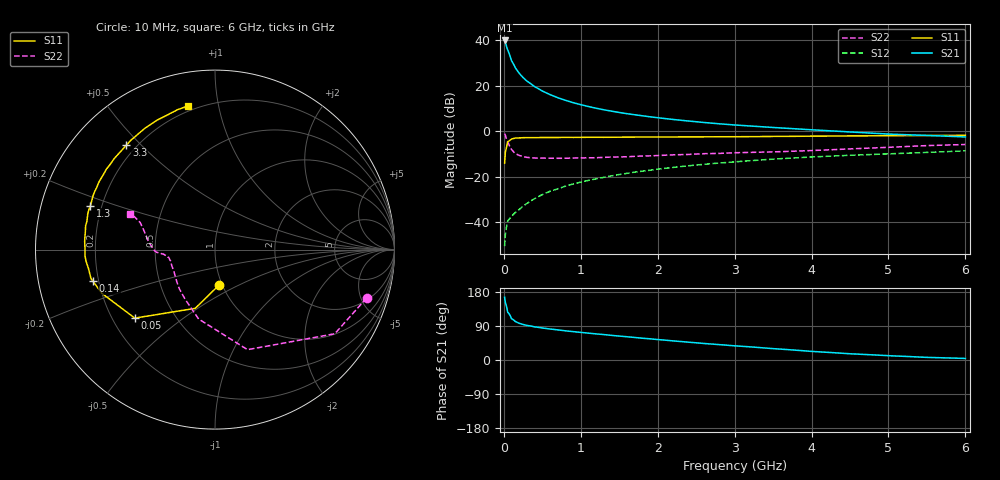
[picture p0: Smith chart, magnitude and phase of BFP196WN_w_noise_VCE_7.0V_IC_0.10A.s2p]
! Infineon Technologies  Discrete & RF Semiconductors
! BFP196WN
! VCE =  7.0 V,  IC = 0.10 A
! Common Emitter S-Parameters:  Jan 2017
# GHz  S  MA  R  50
!  f  S11  S21  S12  S22
! GHz  MAG  ANG  MAG  ANG  MAG  ANG  MAG  ANG
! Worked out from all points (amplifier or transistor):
!   77 points, 10 MHz to 6 GHz, reference 50 ohm
!   highest |S21| = 39.9 dB at 10 MHz (marker M1)
!   |S21| within 3 dB of that: start of sweep to 38.58 MHz
!   unconditionally stable (mu >= 1): 499.4 MHz to 2.46 GHz
!   at 130 MHz: K = 0.68, MSG = 32.8 dB, |S12| = -36.3 dB
!   at 2.2 GHz: K = 1.01, MAG = 9.8 dB, |S12| = -15.9 dB
!   at 6 GHz: K = 0.91, MSG = 3.1 dB, |S12| = -8.6 dB
!   lowest NFmin = 1.80 dB at 450 MHz
!   S11 on the Smith chart (normalised r, x): 10 MHz: 0.96, -0.40; 50 MHz: 0.29, -0.34; 140 MHz: 0.18, -0.12; 1.3 GHz: 0.16, +0.17; 3.3 GHz: 0.16, +0.45; 6 GHz: 0.17, +0.82
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0.01  0.1994 -83.7  98.31 165.6  0.003 77.5  0.8868 -17.7
0.02  0.3454 -108.6  88.27 151.6  0.0054 72.6  0.8156 -35.1
0.05  0.5876 -139.5  60.91 126.1  0.0106 52.3  0.5861 -72.0
0.1  0.6761 -158.9  35.42 109.0  0.0135 54.0  0.3977 -103.2
0.14  0.7018 -165.4  26.76 103.4  0.0159 56.5  0.3348 -116.9
0.15  0.7096 -166.9  24.65 101.4  0.0165 57.0  0.3228 -121.1
0.2  0.713 -171.6  18.69 96.9  0.0191 60.8  0.2944 -132.7
0.25  0.7212 -174.7  15.07 93.7  0.0228 63.6  0.2782 -139.9
0.3  0.7248 -177.2  12.6 91.3  0.026 64.0  0.2666 -146.0
0.4  0.7246 179.1  9.527 87.4  0.0331 69.2  0.2585 -153.1
0.5  0.7277 176.3  7.631 84.5  0.0406 70.2  0.2573 -158.3
0.6  0.7283 173.9  6.376 81.8  0.0481 71.2  0.2563 -161.9
0.7  0.7296 171.7  5.458 79.5  0.0544 72.2  0.2546 -164.3
0.9  0.7307 167.6  4.244 74.9  0.0694 71.5  0.2582 -167.3
1.1  0.7367 164.1  3.486 70.9  0.0834 71.0  0.2609 -170.1
1.3  0.7358 160.7  2.957 67.1  0.0975 70.1  0.2669 -171.0
2.1  0.7484 148.1  1.895 52.3  0.1539 64.7  0.298 -175.6
3.1  0.7589 133.3  1.338 36.1  0.2189 56.2  0.3402 -179.8
3.3  0.7629 130.4  1.272 33.2  0.2314 54.5  0.346 178.9
4.1  0.7814 119.1  1.053 21.5  0.2769 47.5  0.3828 170.7
5.1  0.798 108.4  0.854 10.5  0.3233 39.8  0.4514 159.6
6  0.8146 100.6  0.749 4.1  0.3708 33.7  0.5111 157.1
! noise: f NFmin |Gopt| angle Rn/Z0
0.45  1.8  0.6  -174  0.06
0.9  1.96  0.61  -167  0.08
1.9  2.98  0.71  -146  0.26
2.4  3.72  0.72  -137  0.44
